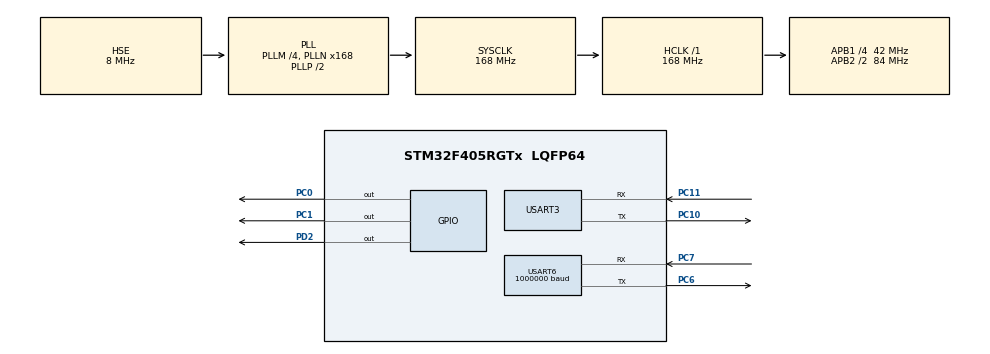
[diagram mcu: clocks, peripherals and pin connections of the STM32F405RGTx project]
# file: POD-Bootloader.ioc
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Mcu.Family=STM32F4
Mcu.Name=STM32F405RGTx
Mcu.Package=LQFP64
NVIC.PriorityGroup=NVIC_PRIORITYGROUP_4
NVIC.USART6_IRQn=true\:0\:0\:false\:false\:true\:true\:true
PC0.GPIO_Speed=GPIO_SPEED_FREQ_MEDIUM
PC0.Signal=GPIO_Output
PC1.GPIO_Speed=GPIO_SPEED_FREQ_MEDIUM
PC1.Signal=GPIO_Output
PC10.Mode=Asynchronous
PC10.Signal=USART3_TX
PC11.Mode=Asynchronous
PC11.Signal=USART3_RX
PC6.Mode=Asynchronous
PC6.Signal=USART6_TX
PC7.Mode=Asynchronous
PC7.Signal=USART6_RX
PD2.GPIO_Speed=GPIO_SPEED_FREQ_MEDIUM
PD2.Signal=GPIO_Output
PH0-OSC_IN.Mode=HSE-External-Oscillator
PH0-OSC_IN.Signal=RCC_OSC_IN
PH1-OSC_OUT.Mode=HSE-External-Oscillator
PH1-OSC_OUT.Signal=RCC_OSC_OUT
ProjectManager.HeapSize=0x200
ProjectManager.StackSize=0x400
ProjectManager.TargetToolchain=Makefile
RCC.48MHZClocksFreq_Value=84000000
RCC.AHBFreq_Value=168000000
RCC.APB1CLKDivider=RCC_HCLK_DIV4
RCC.APB1Freq_Value=42000000
RCC.APB1TimFreq_Value=84000000
RCC.APB2CLKDivider=RCC_HCLK_DIV2
RCC.APB2Freq_Value=84000000
RCC.APB2TimFreq_Value=168000000
RCC.CortexFreq_Value=168000000
RCC.HCLKFreq_Value=168000000
RCC.HSE_VALUE=8000000
RCC.HSI_VALUE=16000000
RCC.LSE_VALUE=32768
RCC.PLLM=4
RCC.PLLN=168
RCC.PLLSourceVirtual=RCC_PLLSOURCE_HSE
RCC.SYSCLKFreq_VALUE=168000000
RCC.SYSCLKSource=RCC_SYSCLKSOURCE_PLLCLK
RCC.VCOOutputFreq_Value=336000000
USART3.VirtualMode=VM_ASYNC
USART6.BaudRate=1000000
USART6.VirtualMode=VM_ASYNC
board=custom

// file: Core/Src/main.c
/* USER CODE BEGIN Header */
/**
  ******************************************************************************
  * @file           : main.c
  * @brief          : Main program body
  ******************************************************************************
  * @attention
  *
  * <h2><center>&copy; Copyright (c) 2021 STMicroelectronics.
  * All rights reserved.</center></h2>
  *
  * This software component is licensed by ST under BSD 3-Clause license,
  * the "License"; You may not use this file except in compliance with the
  * License. You may obtain a copy of the License at:
  *                        opensource.org/licenses/BSD-3-Clause
  *
  ******************************************************************************
  */
/* USER CODE END Header */
#include "main.h"
#include "usart.h"
#include "gpio.h"

/* USER CODE BEGIN Includes */
#include "boot.h"
#include "config.h"
#include "crtp.h"
#include "syslink.h"
#include "debug.h"
#include <string.h>
/* USER CODE END Includes */

void SystemClock_Config(void);

int main(void)
{
  /* USER CODE BEGIN 1 */
  boot();
  /* USER CODE END 1 */

  /* MCU Configuration--------------------------------------------------------*/

  /* Reset of all peripherals, Initializes the Flash interface and the Systick. */
  HAL_Init();

  /* Configure the system clock */
  SystemClock_Config();

  /* USER CODE BEGIN SysInit */
  // setup systick at 1kHz
  HAL_SetTickFreq(HAL_TICK_FREQ_1KHZ);
  /* USER CODE END SysInit */

  /* Initialize all configured peripherals */
  MX_GPIO_Init();
  MX_USART6_UART_Init();
  MX_USART3_UART_Init();
  /* USER CODE BEGIN 2 */
  _UART_Init();
  /* USER CODE END 2 */

  /* Infinite loop */
  /* USER CODE BEGIN WHILE */
  unsigned int ledGreenTime = 0;
  unsigned int ledRedTime = 0;
  unsigned int ledBlueTime = 0;
  CrtpPacket packet;
  struct syslinkPacket slPacket;
  HAL_GPIO_WritePin(GPIOD, GPIO_PIN_2, GPIO_PIN_RESET);
  HAL_GPIO_WritePin(GPIOC, GPIO_PIN_0, GPIO_PIN_SET);
  HAL_GPIO_WritePin(GPIOC, GPIO_PIN_1, GPIO_PIN_SET);

  while (1) {
    if (syslinkReceive(&slPacket)) {
      if (slPacket.type == SYSLINK_RADIO_RAW) {
        memcpy(packet.raw, slPacket.data, slPacket.length);
        packet.datalen = slPacket.length - 1;

        ledGreenTime = HAL_GetTick();
        HAL_GPIO_WritePin(GPIOC, GPIO_PIN_1, 0);
        if (bootloaderProcess(&packet)) {

          ledRedTime = HAL_GetTick();
          HAL_GPIO_WritePin(GPIOC, GPIO_PIN_0, 0);

          memcpy(slPacket.data, packet.raw, packet.datalen + 1);
          slPacket.length = packet.datalen + 1;
          syslinkSend(&slPacket);
        }
      }
    }

    if (ledGreenTime != 0 && HAL_GetTick() - ledGreenTime > 10) {
      HAL_GPIO_WritePin(GPIOC, GPIO_PIN_1, 1);
      ledGreenTime = 0;
    }
    if (ledRedTime != 0 && HAL_GetTick() - ledRedTime > 10) {
      HAL_GPIO_WritePin(GPIOC, GPIO_PIN_0, 1);
      ledRedTime = 0;
    }

    if ((HAL_GetTick() - ledBlueTime) > 500) {
      if (HAL_GPIO_ReadPin(GPIOD, GPIO_PIN_2) == GPIO_PIN_SET) {
        HAL_GPIO_WritePin(GPIOD, GPIO_PIN_2, 0);
      } else {
        HAL_GPIO_WritePin(GPIOD, GPIO_PIN_2, 1);
      }
      ledBlueTime = HAL_GetTick();
    }
    /* USER CODE END WHILE */

  }
}

void SystemClock_Config(void)
{
  RCC_OscInitTypeDef RCC_OscInitStruct = {0};
  RCC_ClkInitTypeDef RCC_ClkInitStruct = {0};

  /** Configure the main internal regulator output voltage
  */
  __HAL_RCC_PWR_CLK_ENABLE();
  __HAL_PWR_VOLTAGESCALING_CONFIG(PWR_REGULATOR_VOLTAGE_SCALE1);
  /** Initializes the RCC Oscillators according to the specified parameters
  * in the RCC_OscInitTypeDef structure.
  */
  RCC_OscInitStruct.OscillatorType = RCC_OSCILLATORTYPE_HSE;
  RCC_OscInitStruct.HSEState = RCC_HSE_ON;
  RCC_OscInitStruct.PLL.PLLState = RCC_PLL_ON;
  RCC_OscInitStruct.PLL.PLLSource = RCC_PLLSOURCE_HSE;
  RCC_OscInitStruct.PLL.PLLM = 4;
  RCC_OscInitStruct.PLL.PLLN = 168;
  RCC_OscInitStruct.PLL.PLLP = RCC_PLLP_DIV2;
  RCC_OscInitStruct.PLL.PLLQ = 4;
  if (HAL_RCC_OscConfig(&RCC_OscInitStruct) != HAL_OK)
  {
    Error_Handler();
  }
  /** Initializes the CPU, AHB and APB buses clocks
  */
  RCC_ClkInitStruct.ClockType = RCC_CLOCKTYPE_HCLK|RCC_CLOCKTYPE_SYSCLK
                              |RCC_CLOCKTYPE_PCLK1|RCC_CLOCKTYPE_PCLK2;
  RCC_ClkInitStruct.SYSCLKSource = RCC_SYSCLKSOURCE_PLLCLK;
  RCC_ClkInitStruct.AHBCLKDivider = RCC_SYSCLK_DIV1;
  RCC_ClkInitStruct.APB1CLKDivider = RCC_HCLK_DIV4;
  RCC_ClkInitStruct.APB2CLKDivider = RCC_HCLK_DIV2;

  if (HAL_RCC_ClockConfig(&RCC_ClkInitStruct, FLASH_LATENCY_5) != HAL_OK)
  {
    Error_Handler();
  }
}

void Error_Handler(void)
{
  __disable_irq();
  while (1)
  {
  }
}

/************************ (C) COPYRIGHT STMicroelectronics *****END OF FILE****/
